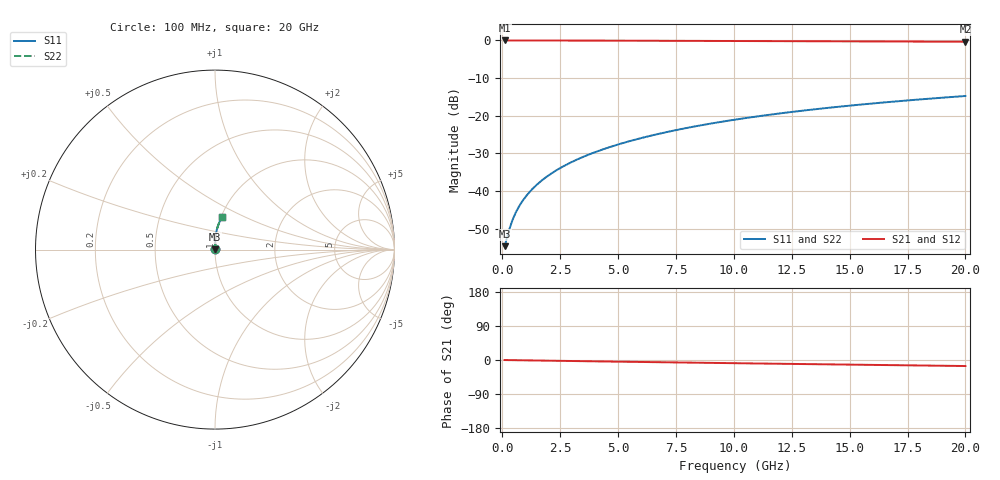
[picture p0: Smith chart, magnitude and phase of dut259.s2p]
! Touchstone file exported from HFSS 2024.1.0
!  File:  C:/UserFiles/LocalFiles/RDL_TSV_Batchsim/temp_RDL_bottom_259_1778702047.aedt
!  Generated:  03:56:46 AM May 14, 2026
!  Design:  RDL_bottom
!  Project:  temp_RDL_bottom_259_1778702047
!  Setup:  Setup1
!  Solution:  Sweep
! Variables:
!  dtsv = 10.80580581um
!  hbump = 3um
!  htsv = 56.02um
!  ldown = 183.82um
!  lrdl = 100um
!  p = 40
!  p1 = 49.77um
!  rhole = 1um
!  t = 450um
!  tdown = 2.28um
!  trdl = 3.915915916um
!  wdown = 22.57um
!  wrdl = 20um
# GHz S MA R 50.000000
! Terminal data exported
! Port[1] = RDL1_T1
! Port[2] = RDL1_T2
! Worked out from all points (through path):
!   200 points, 100 MHz to 20 GHz, reference 50 ohm
!   highest |S21| = -0.01 dB at 100 MHz (marker M1); lowest = -0.4 dB at 20 GHz (marker M2)
!   group delay of S21, straight-line fit = 2.19 ps
!   lowest |S11| = -54.6 dB at 100 MHz (marker M3), VSWR 1.00, Z = 50.2 + j0.0871 ohm
!   |S11| at or under -10 dB: start of sweep to end of sweep
!   |S22| runs from -54.6 to -14.8 dB; largest |S21 - S12| = 4.1e-15
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0.1  0.001857 27.9  0.9984 -0.1  0.9984 -0.1  0.001857 27.9
! Gamma 0 0 0 0
! Port Impedance 50 0 50 0
0.3  0.003087 56.2  0.9983 -0.3  0.9983 -0.3  0.003087 56.2
0.4  0.003818 62.5  0.9982 -0.4  0.9982 -0.4  0.003818 62.5
0.5  0.004566 66.7  0.9981 -0.5  0.9981 -0.5  0.004566 66.7
0.6  0.005318 69.7  0.998 -0.6  0.998 -0.6  0.005318 69.7
0.7  0.006074 72.0  0.998 -0.6  0.998 -0.6  0.006074 72.0
0.9  0.007592 75.5  0.9978 -0.8  0.9978 -0.8  0.007592 75.5
1.2  0.009893 78.8  0.9976 -1.1  0.9976 -1.1  0.009893 78.8
1.4  0.01144 80.5  0.9974 -1.3  0.9974 -1.3  0.01144 80.5
1.7  0.0138 82.3  0.9972 -1.5  0.9972 -1.5  0.0138 82.3
2.2  0.01778 84.3  0.9966 -2.0  0.9966 -2.0  0.01778 84.3
2.8  0.02267 85.9  0.9959 -2.5  0.9959 -2.5  0.02267 85.9
3.5  0.02851 87.1  0.9949 -3.1  0.9949 -3.1  0.02851 87.1
4.2  0.03451 87.9  0.9937 -3.7  0.9937 -3.7  0.03451 87.9
5  0.04153 88.3  0.9923 -4.4  0.9923 -4.4  0.04153 88.3
5.9  0.04964 88.5  0.9905 -5.2  0.9905 -5.2  0.04964 88.5
6.8  0.05793 88.4  0.9887 -5.9  0.9887 -5.9  0.05793 88.4
8.4  0.07298 87.7  0.9853 -7.2  0.9853 -7.2  0.07298 87.7
10.1  0.08924 86.6  0.9817 -8.5  0.9817 -8.5  0.08924 86.6
13.4  0.1209 84.0  0.9746 -11.0  0.9746 -11.0  0.1209 84.0
16.7  0.1522 81.2  0.9675 -13.5  0.9675 -13.5  0.1522 81.2
20  0.1828 78.3  0.96 -15.9  0.96 -15.9  0.1828 78.3
